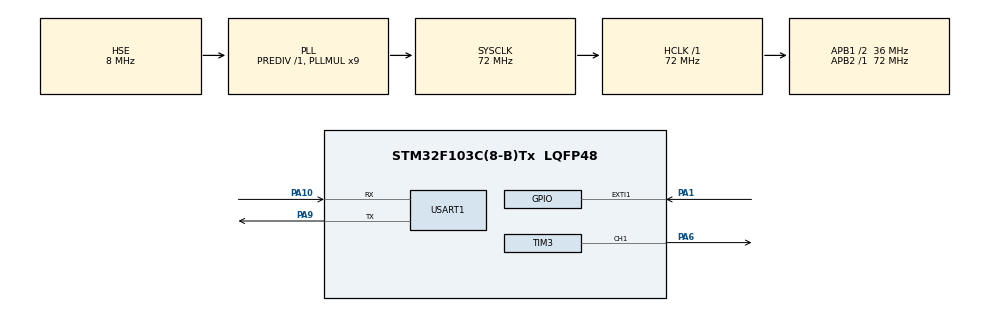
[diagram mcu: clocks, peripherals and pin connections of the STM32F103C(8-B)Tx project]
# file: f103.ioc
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Mcu.Family=STM32F1
Mcu.Name=STM32F103C(8-B)Tx
Mcu.Package=LQFP48
NVIC.PriorityGroup=NVIC_PRIORITYGROUP_4
NVIC.TIM1_UP_IRQn=true\:0\:0\:false\:false\:true\:true\:true\:true
PA1.GPIO_PuPd=GPIO_PULLDOWN
PA1.Signal=GPXTI1
PA10.Mode=Asynchronous
PA10.Signal=USART1_RX
PA13.Mode=Serial_Wire
PA13.Signal=SYS_JTMS-SWDIO
PA14.Mode=Serial_Wire
PA14.Signal=SYS_JTCK-SWCLK
PA6.Signal=S_TIM3_CH1
PA9.Mode=Asynchronous
PA9.Signal=USART1_TX
PD0-OSC_IN.Mode=HSE-External-Oscillator
PD0-OSC_IN.Signal=RCC_OSC_IN
PD1-OSC_OUT.Mode=HSE-External-Oscillator
PD1-OSC_OUT.Signal=RCC_OSC_OUT
ProjectManager.HeapSize=0x200
ProjectManager.StackSize=0x400
ProjectManager.TargetToolchain=MDK-ARM V5.32
RCC.AHBFreq_Value=72000000
RCC.APB1CLKDivider=RCC_HCLK_DIV2
RCC.APB1Freq_Value=36000000
RCC.APB1TimFreq_Value=72000000
RCC.APB2Freq_Value=72000000
RCC.APB2TimFreq_Value=72000000
RCC.HCLKFreq_Value=72000000
RCC.PLLMUL=RCC_PLL_MUL9
RCC.PLLSourceVirtual=RCC_PLLSOURCE_HSE
RCC.SYSCLKFreq_VALUE=72000000
RCC.SYSCLKSource=RCC_SYSCLKSOURCE_PLLCLK
RCC.USBFreq_Value=72000000
SH.S_TIM3_CH1.0=TIM3_CH1,PWM Generation1 CH1
TIM1.Period=1000-1
TIM1.Prescaler=71
TIM1.RepetitionCounter=1
TIM2.Prescaler=71
TIM3.Channel-PWM\ Generation1\ CH1=TIM_CHANNEL_1
TIM3.Period=99
TIM3.Prescaler=0
USART1.VirtualMode=VM_ASYNC
VP_TIM1_VS_ClockSourceINT.Mode=Internal
VP_TIM2_VS_ClockSourceINT.Mode=Internal
VP_TIM3_VS_ClockSourceINT.Mode=Internal
board=custom

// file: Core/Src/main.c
/* USER CODE BEGIN Header */
/**
  ******************************************************************************
  * @file           : main.c
  * @brief          : Main program body
  ******************************************************************************
  * @attention
  *
  * Copyright (c) 2024 STMicroelectronics.
  * All rights reserved.
  *
  * This software is licensed under terms that can be found in the LICENSE file
  * in the root directory of this software component.
  * If no LICENSE file comes with this software, it is provided AS-IS.
  *
  ******************************************************************************
  */
/* USER CODE END Header */
#include "main.h"
#include "tim.h"
#include "usart.h"
#include "gpio.h"

/* USER CODE BEGIN Includes */
#include "stm32f1xx_hal.h"
#include "stm32f1xx_hal_uart.h"
#include "stm32f1xx_hal_dma.h"
/* USER CODE END Includes */

void SystemClock_Config(void);

/* USER CODE BEGIN 0 */
int16_t cnt;
/* USER CODE END 0 */

int main(void)
{

  /* MCU Configuration--------------------------------------------------------*/

  /* Reset of all peripherals, Initializes the Flash interface and the Systick. */
  HAL_Init();

  /* Configure the system clock */
  SystemClock_Config();

  /* Initialize all configured peripherals */
  MX_GPIO_Init();
  MX_USART1_UART_Init();
  MX_TIM1_Init();
  MX_TIM2_Init();
  MX_TIM3_Init();
  /* USER CODE BEGIN 2 */
	HAL_TIM_Base_Start_IT(&htim1);
	HAL_TIM_Base_Start(&htim2);
	HAL_TIM_Base_Start(&htim3);
	HAL_TIM_PWM_Start(&htim3,TIM_CHANNEL_1);
  /* USER CODE END 2 */

  /* Infinite loop */
  while (1)
  {

    /* USER CODE BEGIN 3 */

		for(cnt=0;cnt<100;cnt++)
		{
			__HAL_TIM_SET_COMPARE(&htim3,TIM_CHANNEL_1,cnt);
			HAL_Delay(10);
		}
		for(cnt=99;cnt>0;cnt--)
		{
			__HAL_TIM_SET_COMPARE(&htim3,TIM_CHANNEL_1,cnt);
			HAL_Delay(10);
		}
  }
  /* USER CODE END 3 */
}

void SystemClock_Config(void)
{
  RCC_OscInitTypeDef RCC_OscInitStruct = {0};
  RCC_ClkInitTypeDef RCC_ClkInitStruct = {0};

  /** Initializes the RCC Oscillators according to the specified parameters
  * in the RCC_OscInitTypeDef structure.
  */
  RCC_OscInitStruct.OscillatorType = RCC_OSCILLATORTYPE_HSE;
  RCC_OscInitStruct.HSEState = RCC_HSE_ON;
  RCC_OscInitStruct.HSEPredivValue = RCC_HSE_PREDIV_DIV1;
  RCC_OscInitStruct.HSIState = RCC_HSI_ON;
  RCC_OscInitStruct.PLL.PLLState = RCC_PLL_ON;
  RCC_OscInitStruct.PLL.PLLSource = RCC_PLLSOURCE_HSE;
  RCC_OscInitStruct.PLL.PLLMUL = RCC_PLL_MUL9;
  if (HAL_RCC_OscConfig(&RCC_OscInitStruct) != HAL_OK)
  {
    Error_Handler();
  }

  /** Initializes the CPU, AHB and APB buses clocks
  */
  RCC_ClkInitStruct.ClockType = RCC_CLOCKTYPE_HCLK|RCC_CLOCKTYPE_SYSCLK
                              |RCC_CLOCKTYPE_PCLK1|RCC_CLOCKTYPE_PCLK2;
  RCC_ClkInitStruct.SYSCLKSource = RCC_SYSCLKSOURCE_PLLCLK;
  RCC_ClkInitStruct.AHBCLKDivider = RCC_SYSCLK_DIV1;
  RCC_ClkInitStruct.APB1CLKDivider = RCC_HCLK_DIV2;
  RCC_ClkInitStruct.APB2CLKDivider = RCC_HCLK_DIV1;

  if (HAL_RCC_ClockConfig(&RCC_ClkInitStruct, FLASH_LATENCY_2) != HAL_OK)
  {
    Error_Handler();
  }
}

/* USER CODE BEGIN 4 */
void HAL_TIM_PeriodElapsedCallback(TIM_HandleTypeDef *htim)
{
	if(htim->Instance == TIM1)
	{
		//cnt= __HAL_TIM_GetCounter(&htim2);
		//cnt++;
		//HAL_TIM_Base_Stop(&htim2);
		//__HAL_TIM_SetCounter(&htim2, 0);
		//HAL_TIM_Base_Start(&htim2);
		//HAL_TIM_Base_Start_IT(&htim1);
	}
}
/* USER CODE END 4 */

void Error_Handler(void)
{
  __disable_irq();
  while (1)
  {
  }
}
